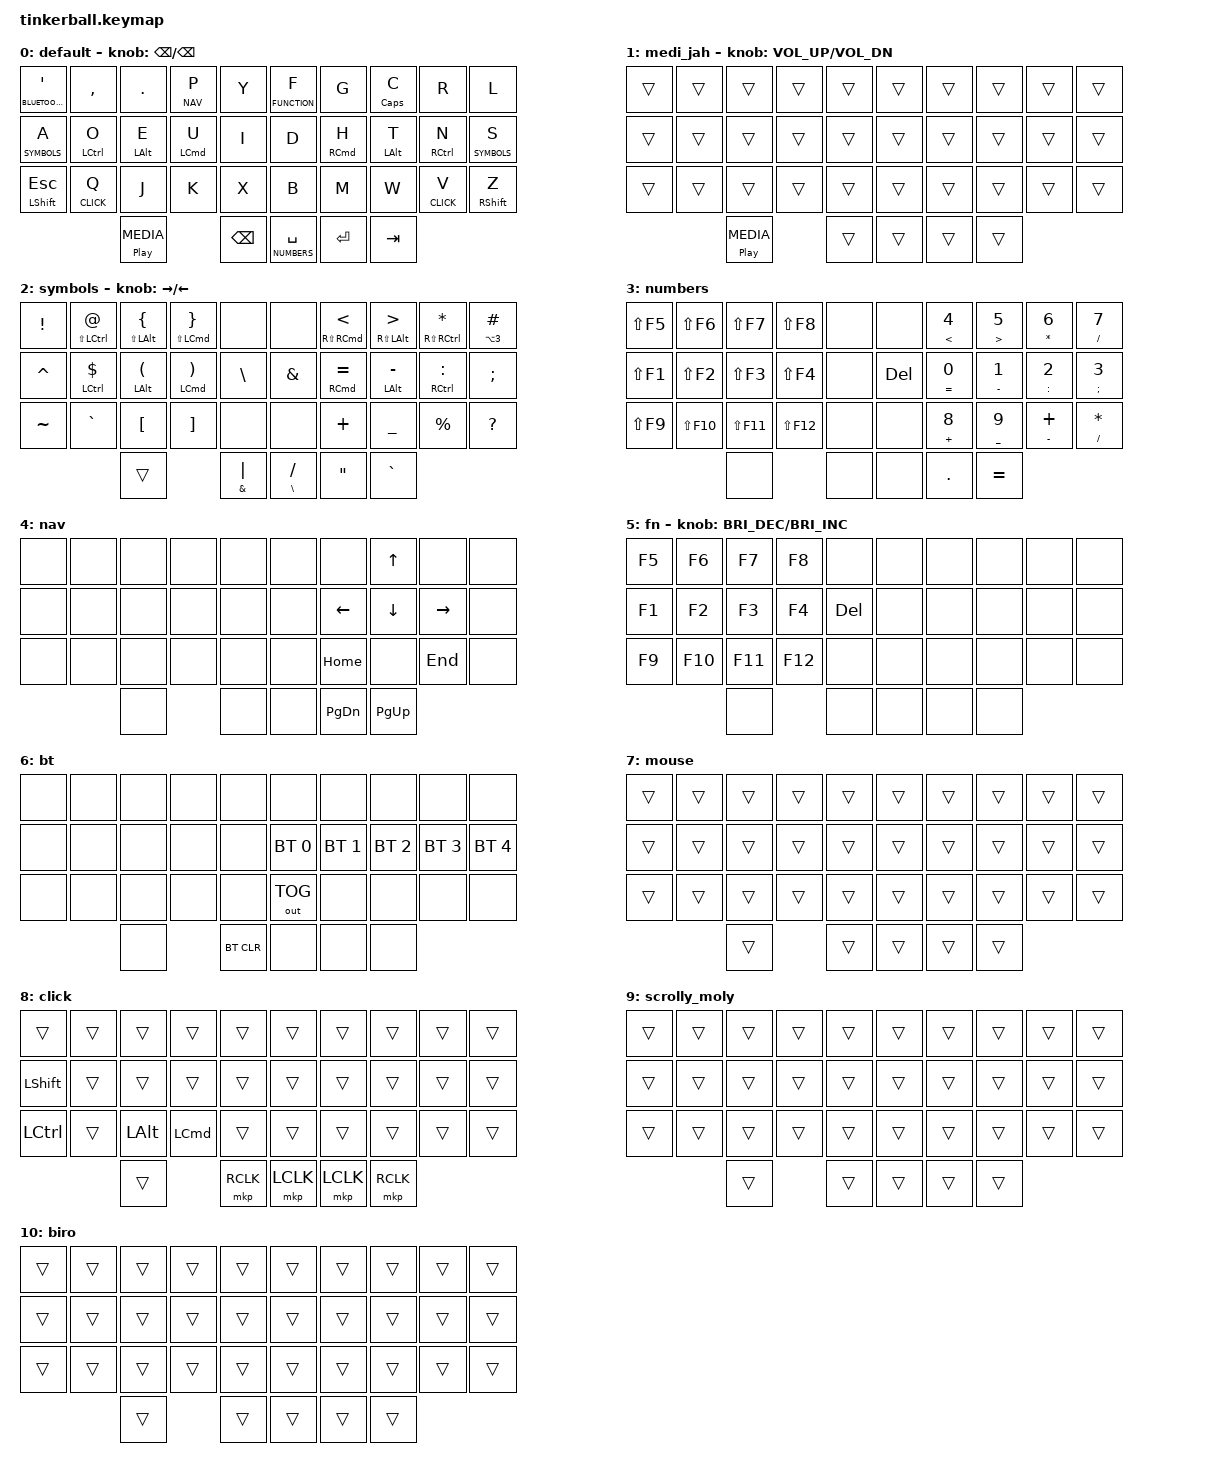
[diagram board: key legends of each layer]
#include <behaviors.dtsi>
#include <dt-bindings/zmk/keys.h>
#include <dt-bindings/zmk/bt.h>
#include <dt-bindings/zmk/mouse.h>
#include <dt-bindings/zmk/outputs.h>

#define MEDIA 1
#define SYMBOLS 2
#define NUMBERS 3
#define NAV 4
#define FUNCTION 5
#define BLUETOOTH 6
#define MOUSE 7
#define CLICK 8
#define SCRL 9
#define BIRO 10

// tapping-term-ms
#define TT 160

/ {
  chosen {
    zmk,matrix_transform = &five_column_transform;
  };
};

/ {
    behaviors {
        hm: homerow_mods {
            compatible = "zmk,behavior-hold-tap";
            label = "HOMEROW_MODS";
            #binding-cells = <2>;
            tapping-term-ms = <TT>;
            quick-tap-ms = <0>;
            flavor = "balanced";
            bindings = <&kp>, <&kp>;
        };
        hmpt: homerow_mods_prefer_tap {
            compatible = "zmk,behavior-hold-tap";
            label = "HOMEROW_MODS_PREFER_TAP";
            #binding-cells = <2>;
            tapping-term-ms = <TT>;
            quick-tap-ms = <0>;
            flavor = "tap-preferred";
            bindings = <&kp>, <&kp>;
        };
        blt: balanced_layer_tap {
            compatible = "zmk,behavior-hold-tap";
            label = "BALANCED_LAYER_TAP";
            #binding-cells = <2>;
            tapping-term-ms = <TT>;
            quick-tap-ms = <0>;
            flavor = "balanced";
            bindings = <&mo>, <&kp>;
        };
        tt: toggle_layer_tap {
            compatible = "zmk,behavior-hold-tap";
            label = "TOGGLE_LAYER_TAP";
            #binding-cells = <2>;
            tapping-term-ms = <250>;
            flavor = "tap-preferred";
            bindings = <&kp>, <&tog>;
        };
        repeat_encoder: repeat_encoder {
            compatible = "zmk,behavior-sensor-rotate";
            label = "REPEAT_ENCODER";
            #sensor-binding-cells = <0>;
            bindings = <&kp BSPC>, <&key_repeat>;
        };
        tsl: behavior_trackball_scroll {
			compatible = "zmk,behavior-point-device-incremental";
			label = "TRACKBALL_SCROLL";
			#trackball-binding-cells = <0>;
            mode = "scroll-mode";
            flavor = "default";
            scale_mode = "dividor";
            scale_factor = <4>;
            smoothing;
		};
        tkp_fast: behavior_trackball_key_press {
            compatible = "zmk,behavior-point-device-directional";
            label = "TRACKBALL_KEY_PRESS";
            #trackball-binding-cells = <4>;
            mode = "distance-mode";
            flavor = "2-dim";
            step_size = <50>;
        };
    };

    conditional_layers {
        compatible = "zmk,conditional-layers";
        nav_ball_scroll {
            if-layers = <MOUSE NAV>;
            then-layer = <BIRO>;
        };
        num_ball_scroll {
            if-layers = <MOUSE SYMBOLS>;
            then-layer = <SCRL>;
        };
    };

   macros {
        vi_editing_mode: vi_editing_mode {
            label = "vi editing-mode";
            compatible = "zmk,behavior-macro";
            #binding-cells = <0>;
            bindings = <&macro_tap &kp S &kp E &kp T &kp SPACE &kp MINUS &kp O &kp SPACE &kp V &kp I &kp RET>;
        };
    };

  combos {
        compatible = "zmk,combos";
        combo_vi_editing_mode {
            timeout-ms = <50>;
            key-positions = <27 28>;
            bindings = <&vi_editing_mode>;
        };
    };

  keymap {
    compatible = "zmk,keymap";

        default {
// --------------------------------------------------------------------------------------------------------------------------------------------------------------------
//  '    |  ,  |  .  |  P/Nav  |  Y  |                             |  F/Fn  |  G  |  C/Caps  |    R    |  L   |
// A/Sym |  O/Ctrl  |  E/Alt [A->F13]? |  U/Cmd  |  I  |           |  D  |  H/Cmd  |  T/Alt  |    N/Ctrl    |  S/Sym |
// Esc/Lsft|  Q/Click  |  J  |  K  |  X  |                               |  B  |  M  |  W  |    V    |Z/Rsft|
// | Media/Play-Pause | Bspc/LC | SPC/Num/RC |                                                       | Ent | Tab |     |
           bindings = <
            &lt BLUETOOTH APOS &kp COMMA &kp DOT &blt NAV P &kp Y &lt FUNCTION F &kp G &hm CAPS C &kp R  &kp L
            &blt SYMBOLS A &hm LCTRL O &hmpt LALT E &hm LCMD U &kp I &kp D &hm RCMD H &hmpt LALT T &hm RCTRL N &blt SYMBOLS S
            &hm LSHFT ESC &blt CLICK Q &kp J &kp K &kp X &kp B &kp M &kp W &blt CLICK V &hm RSHFT Z
            &tt C_PP MEDIA &kp BSPC &blt NUMBERS SPACE &kp RET &kp TAB
            >;
            sensor-bindings = <&inc_dec_kp BSPC BSPC>;
        };

        medi_jah {
            bindings = <
    &trans  &trans     &trans  &trans     &trans    &trans  &trans  &trans  &trans  &trans
    &trans  &trans     &trans  &trans     &trans    &trans  &trans  &trans  &trans  &trans
    &trans  &trans     &trans  &trans     &trans    &trans  &trans  &trans  &trans  &trans
                           &tt C_PP MEDIA &trans &trans    &trans  &trans
            >;
            sensor-bindings = <&inc_dec_kp C_VOL_UP C_VOL_DN>;
        };

        symbols {
// --------------------------------------------------------------------------------------------------------------------------------------------------------------------
//  !  |  @  |  {  |  }  |     |                |         |    <    |    >   |  *  |   #  |
//  ^  |  $  |  (  |  )  |  \  |                |    &    |    =    |    -   |  :  |   ;  |
//  ~  |  `  |  [  |  ]  |     |                |         |    +    |    _   |  %  |   ?  |
//         |  ,,  | |/&  | //\ |                |    "    |    `    |   ,,   |
           bindings = <
            &kp EXCL &hm LS(LCTRL) AT &hmpt LS(LALT) LBRC &hm LS(LCMD) RBRC &none &none &hm RS(RCMD) LT &hmpt RS(LALT) GT &hm RS(RCTRL) ASTERISK &hm LA(N3) HASH
            &kp CARET &hm LCTRL DOLLAR &hmpt LALT LPAR &hm LCMD RPAR &kp BACKSLASH &kp AMPS &hm RCMD EQL &hmpt LALT MINUS &hm RCTRL COLON &kp SEMICOLON
            &kp TILDE &kp GRAVE &kp LBKT &kp RBKT &none &none &kp PLUS &kp UNDERSCORE &kp PERCENT &kp QMARK
            &trans &mt AMPS PIPE &mt BACKSLASH SLASH &kp DQT &kp GRAVE
           >;
            sensor-bindings = <&inc_dec_kp RIGHT LEFT>;
            trackball-bindings = <&tmv_fine>;
        };

        numbers {
// --------------------------------------------------------------------------------------------------------------------------------------------------------------------
//   s-f5  |  s-f6  |  s-f7 |  s-f8  |   |            |         |    4/<    |    5/>   |  6/*  |   7//  |
//    s-f1   |  s-f2 |  s-f3 | s-f4 |   |             |   DEL   |    0/=    |    1/-   | 2/: |   3/;  |
//     s-f9   | s-f10 | s-f11 | s-f12 |   |           |         |    8/+    |    9/_   | +/- | *//  |
//         |      |     |      |     |      |    .    |    =    |      |
           bindings = <
	    &kp LS(F5) &kp LS(F6) &kp LS(F7) &kp LS(F8) &none &none &hmpt LT N4 &hmpt GT N5 &hmpt ASTERISK N6 &hmpt SLASH N7
	    &kp LS(F1) &kp LS(F2) &kp LS(F3) &kp LS(F4) &none &kp DEL &hmpt EQL N0 &hmpt MINUS N1 &hmpt COLON N2 &hmpt SEMICOLON N3
	    &kp LS(F9) &kp LS(F10) &kp LS(F11) &kp LS(F12) &none &none &hmpt PLUS N8 &hmpt UNDERSCORE N9 &hmpt MINUS PLUS &hmpt SLASH ASTERISK
	    &none &none &none &kp DOT &kp EQL
            >;
            trackball-bindings = <&tsl>;
        };

        nav {
// --------------------------------------------------------------------------------------------------------------------------------------------------------------------
//     |     |     |     |     |                |         |         |    ^   |     |      |
//     |     |     |     |     |                |         |    <    |    v   |  >  |      |
//     |     |     |     |     |                |         |   HOME  |        | END |      |
//         |      |     |      |     |      |    PgDN   |   PgUP  |      |
           bindings = <
	    &none &none &none &none &none &none &none &kp UP &none &none
	    &none &none &none &none &none &none &kp LEFT &kp DOWN &kp RIGHT &none
	    &none &none &none &none &none &none &kp HOME &none &kp END &none
	    &none &none &none &kp PG_DN &kp PG_UP
            >;
        };

        fn {
// --------------------------------------------------------------------------------------------------------------------------------------------------------------------
//  F5 |  F6 | F7  | F8  |     |                |         |         |        |     |      |
//  F1 |  F2 | F3  | F4  | DEL |                |         |         |        |     |      |
//  F9 | F10 | F11 | F12 |     |                |   ,,    |   ,,    |        |     |      |
//         |      |     |      |     |      |           |         |      |
           bindings = <
            &kp F5 &kp F6 &kp F7 &kp F8 &none &none &none &none &none &none
            &kp F1 &kp F2 &kp F3 &kp F4 &kp DEL &none &none &none &none &none
            &kp F9 &kp F10 &kp F11 &kp F12 &none &none &none &none &none &none
	    &none &none &none &none &none
            >;
            sensor-bindings = <&inc_dec_kp C_BRI_DEC C_BRI_INC>;
        };

        bt {
// --------------------------------------------------------------------------------------------------------------------------------------------------------------------
//     |     |     |     |     |                |         |         |        |     |      |
//     |     |     |     |     |                |   P0    |    P1   |   P2   |  P3 |  P4  |
//     |     |     |     |     |                | BT/USB  |         |        |     |      |
//         | CLR  |     |      |
           bindings = <
            &none &none &none &none &none &none &none &none &none &none
            &none &none &none &none &none &bt BT_SEL 0 &bt BT_SEL 1 &bt BT_SEL 2 &bt BT_SEL 3 &bt BT_SEL 4
            &none &none &none &none &none &out OUT_TOG &none &none &none &none
	        &none &bt BT_CLR &none &none &none
            >;
        };

        mouse {
            bindings = <
    &trans  &trans     &trans  &trans     &trans    &trans  &trans  &trans  &trans  &trans
    &trans  &trans     &trans  &trans     &trans    &trans  &trans  &trans  &trans  &trans
    &trans  &trans     &trans  &trans     &trans    &trans  &trans  &trans  &trans  &trans
                           &trans  &trans &trans    &trans  &trans
            >;
            trackball-bindings = <&tmv>;
        };

        click {
            bindings = <
    &trans  &trans     &trans  &trans     &trans    &trans  &trans  &trans  &trans  &trans
    &kp LSHFT  &trans     &trans  &trans     &trans    &trans  &trans  &trans  &trans  &trans
    &kp LCTRL  &trans  &kp LALT  &kp LCMD    &trans    &trans  &trans  &trans  &trans  &trans
                           &trans  &mkp RCLK &mkp LCLK    &mkp LCLK  &mkp RCLK
            >;
            trackball-bindings = <&tmv_fine>;
        };

        scrolly_moly {
            bindings = <
    &trans  &trans     &trans  &trans     &trans    &trans  &trans  &trans  &trans  &trans
    &trans  &trans     &trans  &trans     &trans    &trans  &trans  &trans  &trans  &trans
    &trans  &trans     &trans  &trans     &trans    &trans  &trans  &trans  &trans  &trans
                           &trans  &trans &trans        &trans  &trans
            >;
            trackball-bindings = <&tsl>;
        };

        // ball point
        biro {
            bindings = <
    &trans  &trans     &trans  &trans     &trans    &trans  &trans  &trans  &trans  &trans
    &trans  &trans     &trans  &trans     &trans    &trans  &trans  &trans  &trans  &trans
    &trans  &trans     &trans  &trans     &trans    &trans  &trans  &trans  &trans  &trans
                           &trans  &trans &trans    &trans  &trans
            >;
            trackball-bindings = <&tkp_fast LEFT RIGHT UP DOWN>;
        };

    };
};
